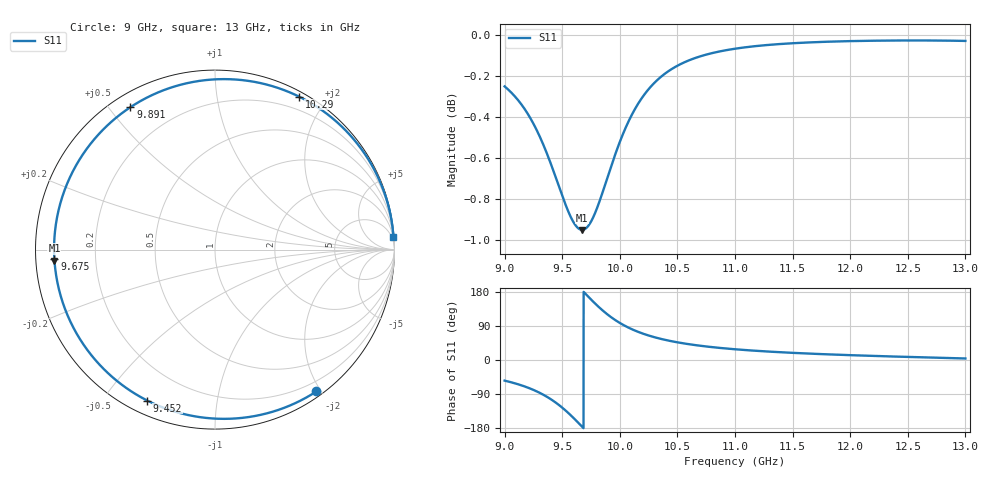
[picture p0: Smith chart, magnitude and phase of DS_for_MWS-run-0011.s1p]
! TOUCHSTONE file generated by CST DESIGN STUDIO
! Date and time: Tue Feb  4 13:32:42 2025
! Project name: C:\Work\MatlabApps\UnitCellOptimizationMatlab\CST\unitcell.cst
! Tree item: Tasks\Sweep1\SPara1\S-Parameters
! Header version: 2024
! Port assignment regex: !\s*Touchstone port\s*([0-9]+)\s*=\s*(CST MWS port|CST DES external port|CST DES block port)\s*(.+)\s* \(\"(.*)\"\)(\s*mode\s*([0-9]+))?.*
! Touchstone port assignment:
! Touchstone port 1 = CST DES external port 1 ("")
# GHz S MA R 50
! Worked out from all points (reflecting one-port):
!   4001 points, 9 GHz to 13 GHz, reference 50 ohm
!   lowest |S11| = -0.9 dB at 9.673 GHz (marker M1), VSWR 18.32, Z = 2.73 - j1.69 ohm
!   phase of S11 starts at -54 deg and turns -302 deg over the sweep
!   S11 on the Smith chart (normalised r, x): 9 GHz: 0.07, -1.94; 9.452 GHz: 0.06, -0.65; 9.675 GHz: 0.05, -0.03; 9.891 GHz: 0.05, +0.57; 10.29 GHz: 0.05, +1.69; 13 GHz: 1, +28
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9  0.9714 -54.4
9.119  0.9638 -64.2
9.234  0.9532 -76.8
9.356  0.9373 -95.0
9.452  0.9218 -114.2
9.5  0.9138 -125.7
9.547  0.9066 -138.1
9.596  0.9005 -152.3
9.636  0.8974 -164.5
9.673  0.8965 -176.1
9.675  0.8965 -176.7
9.721  0.8981 168.7
9.769  0.9028 153.9
9.831  0.9121 136.1
9.891  0.9228 120.7
9.943  0.9322 109.0
10  0.9417 97.8
10.063  0.9509 87.3
10.138  0.9599 76.8
10.288  0.9726 61.2
10.388  0.9782 53.5
10.5  0.9827 46.6
10.719  0.9883 36.8
11  0.9921 28.3
11.5  0.9952 18.9
12  0.9964 12.8
12.5  0.9967 8.1
13  0.9965 4.0
